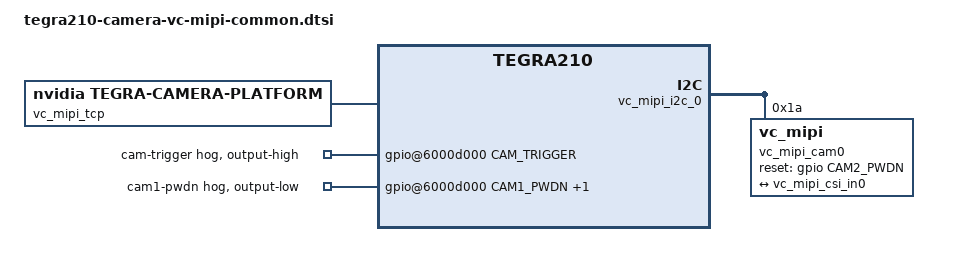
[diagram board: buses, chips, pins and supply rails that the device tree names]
/*
 * Copyright (c) 2018-2019, NVIDIA CORPORATION.  All rights reserved.
 *
 * This program is free software; you can redistribute it and/or modify
 * it under the terms of the GNU General Public License as published by
 * the Free Software Foundation; either version 2 of the License, or
 * (at your option) any later version.
 *
 * This program is distributed in the hope that it will be useful, but WITHOUT
 * ANY WARRANTY; without even the implied warranty of MERCHANTABILITY or
 * FITNESS FOR A PARTICULAR PURPOSE.  See the GNU General Public License for
 * more details.
 *
 * You should have received a copy of the GNU General Public License
 * along with this program.  If not, see <http://www.gnu.org/licenses/>.
 */

#include <dt-bindings/media/camera.h>
#include <dt-bindings/platform/t210/t210.h>

#if VC_MIPI_LANES == 1
    #define BUS_WIDTH 1
    #define NUM_LANES "1" 
    #define NUM_CSI_LANES 2
#endif
#if VC_MIPI_LANES == 2
    #define BUS_WIDTH 2
    #define NUM_LANES "2" 
    #define NUM_CSI_LANES 4
#endif
#if VC_MIPI_LANES == 4
    #define BUS_WIDTH 4
    #define NUM_LANES "4" 
    #define NUM_CSI_LANES 8
#endif
 
/ {
    host1x {
        vc_mipi_vi_base: vi {
            num-channels = <2>;
            #address-cells = <1>;
            #size-cells = <0>;
            ports {
                #address-cells = <1>;
                #size-cells = <0>;
                vc_mipi_vi_port0: port@0 {
                    reg = <0>;
                    vc_mipi_vi_in0: endpoint {
                        port-index = <0>;
                        bus-width = <BUS_WIDTH>;
                        remote-endpoint = <&vc_mipi_csi_out0>;
                    };
                };
            };
        };
 
        vc_mipi_csi_base: nvcsi {
            num-channels = <1>;
            #address-cells = <1>;
            #size-cells = <0>;
            vc_mipi_csi_chan0: channel@0 {
                reg = <0>;
                ports {
                    #address-cells = <1>;
                    #size-cells = <0>;
                    vc_mipi_csi_chan0_port0: port@0 {
                        reg = <0>;
                        vc_mipi_csi_in0: endpoint@0 {
                            port-index = <0>;
                            bus-width = <BUS_WIDTH>;
                            remote-endpoint = <&vc_mipi_out0>;
                        };
                    };
                    vc_mipi_csi_chan0_port1: port@1 {
                        reg = <1>;
                        vc_mipi_csi_out0: endpoint@1 {
                            remote-endpoint = <&vc_mipi_vi_in0>;
                        };
                    };
                };
            };
        };

        vc_mipi_i2c_0: i2c@546c0000 {
            vc_mipi_cam0: vc_mipi@1a {                
                reg                     = <0x1a>;
                devnode                 = "video0";
                use_sensor_mode_id      = "false";
                num_lanes               = NUM_LANES;
 
                mode0 { 
                    tegra_sinterface         = "serial_a";
                    mclk_khz                 = "24000";
                    mclk_multiplier          = "9.33";
                    pix_clk_hz               = "800000000";
                    num_lanes                = NUM_LANES;
                    phy_mode                 = "DPHY";
                    discontinuous_clk        = "no";
                    dpcm_enable              = "false";
                    cil_settletime           = "0";

                    inherent_gain            = "1";
                    min_hdr_ratio            = "1";
                    max_hdr_ratio            = "1";
                    readout_orientation      = "0";

                    embedded_metadata_height = "0";    
                };

                ports {
                    #address-cells = <1>;
                    #size-cells = <0>;

                    port@0 {
                        reg = <0>;
                        vc_mipi_out0: endpoint {
                            port-index = <0>;
                            bus-width = <BUS_WIDTH>;
                            remote-endpoint = <&vc_mipi_csi_in0>;
                        };
                    };
                };
            };
        };
    };

    lens_vc_mipi@RBPCV2 {
        min_focus_distance  = "0.0";
        hyper_focal         = "0.0";
        focal_length        = "1.0";
        f_number            = "2.0";
        aperture            = "0.0";
    };
};

/ {
    vc_mipi_tcp: tegra-camera-platform {
        compatible = "nvidia, tegra-camera-platform";

        num_csi_lanes = <NUM_CSI_LANES>;
        max_lane_speed = <1500000>;
        min_bits_per_pixel = <10>;
        vi_peak_byte_per_pixel = <2>;
        vi_bw_margin_pct = <25>;
        max_pixel_rate = <160000>;
        isp_peak_byte_per_pixel = <5>;
        isp_bw_margin_pct = <25>;

        /**
         * The general guideline for naming badge_info contains 3 parts, and is as follows,
         * The first part is the camera_board_id for the module; if the module is in a FFD
         * platform, then use the platform name for this part.
         * The second part contains the position of the module, ex. "rear" or "front".
         * The third part contains the last 6 characters of a part number which is found
         * in the module's specsheet from the vendor.
         */
        modules {
            vc_mipi_cam_module0: module0 {
                badge = "porg_front_RBPCV2";
                position = "front";
                orientation = "1";
                vc_mipi_cam_module0_drivernode0: drivernode0 {
                    pcl_id = "v4l2_sensor";
                    devname = "vc-mipi 6-001a";
                    proc-device-tree = "/proc/device-tree/host1x/i2c@546c0000/vc_mipi@1a";
                };
                vc_mipi_cam_module0_drivernode1: drivernode1 {
                    pcl_id = "v4l2_lens";
                    proc-device-tree = "/proc/device-tree/lens_vc_mipi@RBPCV2/";
                };
            };
        };
    };
};

#define CAM1_PWDN       TEGRA_GPIO(S, 7)
#define CAM2_PWDN       TEGRA_GPIO(T, 0)
#define CAM_TRIGGER     TEGRA_GPIO(V, 0)

/ {
    host1x {
        i2c@546c0000 {
            status = "okay";
                vc_mipi@1a {
                status = "okay";
                reset-gpios = <&gpio CAM2_PWDN GPIO_ACTIVE_HIGH>;
            };
        };
    };
 
    gpio@6000d000 {
        camera-trigger-high {
            status = "okay";
            gpio-hog;
            output-high;
            gpios = <CAM_TRIGGER 0>;
            label = "cam-trigger";
        };
 
        camera-control-output-low {
            gpio-hog;
            output-low;
            gpios = < CAM1_PWDN 0  CAM2_PWDN 0>;
            label = "cam1-pwdn", "cam2-pwdn";
        };
    };
};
